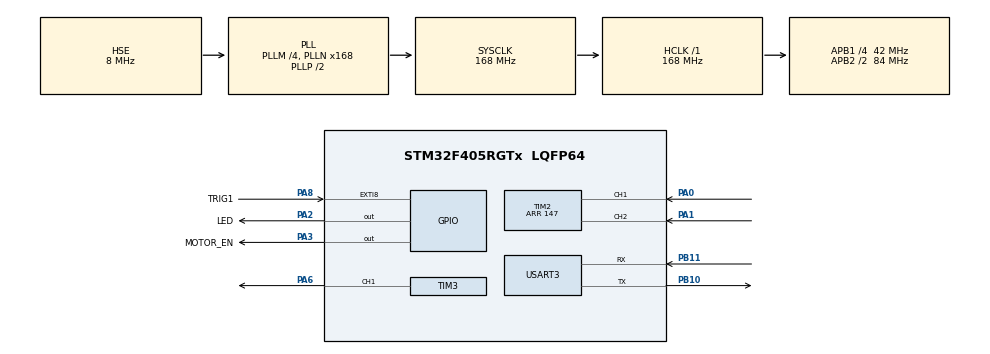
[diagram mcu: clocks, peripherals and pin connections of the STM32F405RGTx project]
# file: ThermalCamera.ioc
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Mcu.Family=STM32F4
Mcu.Name=STM32F405RGTx
Mcu.Package=LQFP64
NVIC.EXTI9_5_IRQn=true\:0\:0\:false\:false\:true\:true\:true\:true
NVIC.PriorityGroup=NVIC_PRIORITYGROUP_4
NVIC.TIM2_IRQn=true\:0\:0\:false\:false\:true\:true\:true\:true
PA0-WKUP.Signal=S_TIM2_CH1_ETR
PA1.Signal=S_TIM2_CH2
PA13.Mode=Serial_Wire
PA13.Signal=SYS_JTMS-SWDIO
PA14.Mode=Serial_Wire
PA14.Signal=SYS_JTCK-SWCLK
PA2.GPIO_Label=LED
PA2.Signal=GPIO_Output
PA3.GPIO_Label=MOTOR_EN
PA3.Signal=GPIO_Output
PA6.Signal=S_TIM3_CH1
PA8.GPIO_Label=TRIG1
PA8.GPIO_ModeDefaultEXTI=GPIO_MODE_IT_FALLING
PA8.Signal=GPXTI8
PB10.Mode=Asynchronous
PB10.Signal=USART3_TX
PB11.Mode=Asynchronous
PB11.Signal=USART3_RX
PH0-OSC_IN.Mode=HSE-External-Oscillator
PH0-OSC_IN.Signal=RCC_OSC_IN
PH1-OSC_OUT.Mode=HSE-External-Oscillator
PH1-OSC_OUT.Signal=RCC_OSC_OUT
ProjectManager.HeapSize=0x200
ProjectManager.StackSize=0x400
ProjectManager.TargetToolchain=STM32CubeIDE
RCC.48MHZClocksFreq_Value=84000000
RCC.AHBFreq_Value=168000000
RCC.APB1CLKDivider=RCC_HCLK_DIV4
RCC.APB1Freq_Value=42000000
RCC.APB1TimFreq_Value=84000000
RCC.APB2CLKDivider=RCC_HCLK_DIV2
RCC.APB2Freq_Value=84000000
RCC.APB2TimFreq_Value=168000000
RCC.CortexFreq_Value=168000000
RCC.HCLKFreq_Value=168000000
RCC.HSE_VALUE=8000000
RCC.HSICalibrationValue=8
RCC.HSI_VALUE=16000000
RCC.LSE_VALUE=32768
RCC.PLLM=4
RCC.PLLN=168
RCC.PLLSourceVirtual=RCC_PLLSOURCE_HSE
RCC.SYSCLKFreq_VALUE=168000000
RCC.SYSCLKSource=RCC_SYSCLKSOURCE_PLLCLK
RCC.VCOOutputFreq_Value=336000000
SH.S_TIM2_CH1_ETR.0=TIM2_CH1,Encoder_Interface
SH.S_TIM2_CH2.0=TIM2_CH2,Encoder_Interface
SH.S_TIM3_CH1.0=TIM3_CH1,PWM Generation1 CH1
TIM2.EncoderMode=TIM_ENCODERMODE_TI12
TIM2.IC1Filter=15
TIM2.IC2Filter=15
TIM2.Period=147
TIM3.AutoReloadPreload=TIM_AUTORELOAD_PRELOAD_ENABLE
TIM3.Channel-PWM\ Generation1\ CH1=TIM_CHANNEL_1
TIM3.Period=4999
TIM3.Prescaler=83
USART3.VirtualMode=VM_ASYNC
VP_TIM3_VS_ClockSourceINT.Mode=Internal
board=custom

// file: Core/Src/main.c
/* USER CODE BEGIN Header */
/**
  ******************************************************************************
  * @file           : main.c
  * @brief          : Main program body
  ******************************************************************************
  * @attention
  *
  * Copyright (c) 2022 STMicroelectronics.
  * All rights reserved.
  *
  * This software is licensed under terms that can be found in the LICENSE file
  * in the root directory of this software component.
  * If no LICENSE file comes with this software, it is provided AS-IS.
  *
  ******************************************************************************
  */
/* USER CODE END Header */
#include "main.h"
#include "tim.h"
#include "usart.h"
#include "gpio.h"

/* USER CODE BEGIN PV */
int pulses = 0;
/* USER CODE END PV */

void SystemClock_Config(void);

/* USER CODE BEGIN 0 */
uint32_t currPulseTickMS, lastPulseTickMS;
float error = 0;
float lastError = 0;
float derivative = 0;
float integral = 0;
float kp=0.8;
float ki=0.65;
float kd=4;
int targetRPM = 180;
uint16_t pwm = 0;
float rpm=0;
/* USER CODE END 0 */

int main(void)
{

  /* MCU Configuration--------------------------------------------------------*/

  /* Reset of all peripherals, Initializes the Flash interface and the Systick. */
  HAL_Init();

  /* Configure the system clock */
  SystemClock_Config();

  /* Initialize all configured peripherals */
  MX_GPIO_Init();
  MX_USART3_UART_Init();
  MX_TIM3_Init();
  MX_TIM2_Init();

  /* Infinite loop */
  /* USER CODE BEGIN WHILE */
  HAL_TIM_PWM_Start(&htim3, TIM_CHANNEL_1);
  __HAL_TIM_SET_COMPARE(&htim3, TIM_CHANNEL_1, 0);
  HAL_Delay(2000);
  HAL_GPIO_WritePin(MOTOR_EN_GPIO_Port, MOTOR_EN_Pin, GPIO_PIN_SET);
  HAL_GPIO_WritePin(LED_GPIO_Port, LED_Pin, GPIO_PIN_SET);
  HAL_Delay(3000);
  HAL_TIM_Encoder_Start(&htim2, TIM_CHANNEL_ALL);
//  for(uint8_t i = 0; i< 100;i++)
//  {
//	  __HAL_TIM_SET_COMPARE(&htim3, TIM_CHANNEL_1, i*100);
//	  HAL_GPIO_TogglePin(LED_GPIO_Port, LED_Pin);
//	  HAL_Delay(50);
//  }

  while (1)
  {
	  uint32_t interPulseTime = currPulseTickMS - lastPulseTickMS; // rotation time in milliseconds
	 rpm = (float)(1000.0f/interPulseTime)*60.0f;
	 if((HAL_GetTick() - currPulseTickMS) > 1500)
	 {
	   rpm = 0;
	 }
	 error = targetRPM - rpm;
	 integral = integral + error;
	 derivative = error - lastError;
	 pwm = (kp*error) + (ki*integral) + (kd*derivative);

	 if(pwm>5000)pwm = 5000;
	 if(pwm<0)pwm = 0;

	 __HAL_TIM_SET_COMPARE(&htim3, TIM_CHANNEL_1, pwm);
	 lastError = error;
    /* USER CODE END WHILE */

    /* USER CODE BEGIN 3 */
	 HAL_Delay(250);
  }
  /* USER CODE END 3 */
}

void SystemClock_Config(void)
{
  RCC_OscInitTypeDef RCC_OscInitStruct = {0};
  RCC_ClkInitTypeDef RCC_ClkInitStruct = {0};

  /** Configure the main internal regulator output voltage
  */
  __HAL_RCC_PWR_CLK_ENABLE();
  __HAL_PWR_VOLTAGESCALING_CONFIG(PWR_REGULATOR_VOLTAGE_SCALE1);

  /** Initializes the RCC Oscillators according to the specified parameters
  * in the RCC_OscInitTypeDef structure.
  */
  RCC_OscInitStruct.OscillatorType = RCC_OSCILLATORTYPE_HSE;
  RCC_OscInitStruct.HSEState = RCC_HSE_ON;
  RCC_OscInitStruct.PLL.PLLState = RCC_PLL_ON;
  RCC_OscInitStruct.PLL.PLLSource = RCC_PLLSOURCE_HSE;
  RCC_OscInitStruct.PLL.PLLM = 4;
  RCC_OscInitStruct.PLL.PLLN = 168;
  RCC_OscInitStruct.PLL.PLLP = RCC_PLLP_DIV2;
  RCC_OscInitStruct.PLL.PLLQ = 4;
  if (HAL_RCC_OscConfig(&RCC_OscInitStruct) != HAL_OK)
  {
    Error_Handler();
  }

  /** Initializes the CPU, AHB and APB buses clocks
  */
  RCC_ClkInitStruct.ClockType = RCC_CLOCKTYPE_HCLK|RCC_CLOCKTYPE_SYSCLK
                              |RCC_CLOCKTYPE_PCLK1|RCC_CLOCKTYPE_PCLK2;
  RCC_ClkInitStruct.SYSCLKSource = RCC_SYSCLKSOURCE_PLLCLK;
  RCC_ClkInitStruct.AHBCLKDivider = RCC_SYSCLK_DIV1;
  RCC_ClkInitStruct.APB1CLKDivider = RCC_HCLK_DIV4;
  RCC_ClkInitStruct.APB2CLKDivider = RCC_HCLK_DIV2;

  if (HAL_RCC_ClockConfig(&RCC_ClkInitStruct, FLASH_LATENCY_5) != HAL_OK)
  {
    Error_Handler();
  }
}

/* USER CODE BEGIN 4 */
void HAL_GPIO_EXTI_Callback(uint16_t GPIO_Pin)
{
	if(GPIO_Pin == TRIG1_Pin)
	{
		HAL_GPIO_TogglePin(LED_GPIO_Port, LED_Pin);
		lastPulseTickMS = currPulseTickMS;
		currPulseTickMS = HAL_GetTick();
	}
}
/* USER CODE END 4 */

void Error_Handler(void)
{
  __disable_irq();
  while (1)
  {
  }
}
